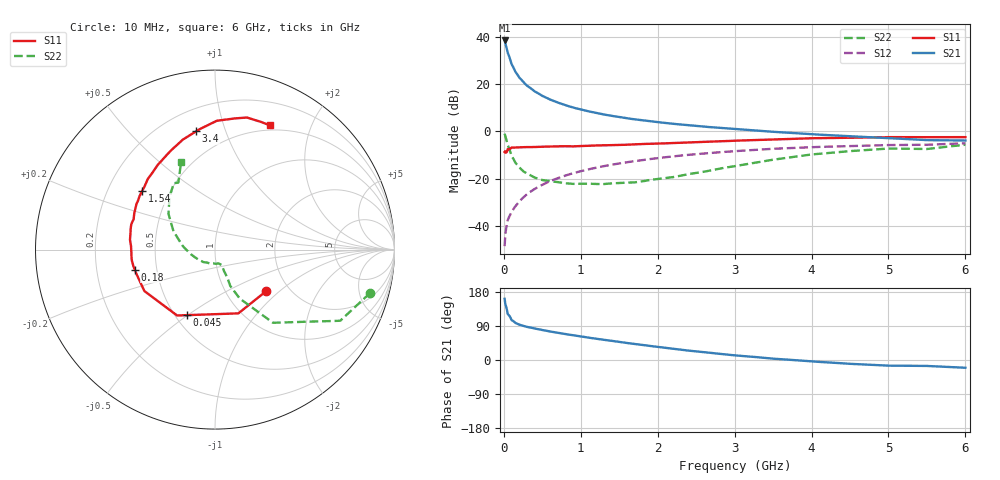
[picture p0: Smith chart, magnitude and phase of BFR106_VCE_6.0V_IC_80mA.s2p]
! Infineon Technologies  Discrete & RF Semiconductors
! BFR106
! VCE =  6.0 V,  IC =  80 mA
! Common Emitter S-Parameters:  Nov 2015
# GHz  S  MA  R  50
!  f  S11  S21  S12  S22
! GHz  MAG  ANG  MAG  ANG  MAG  ANG  MAG  ANG
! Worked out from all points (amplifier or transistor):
!   210 points, 10 MHz to 6 GHz, reference 50 ohm
!   highest |S21| = 38.4 dB at 10 MHz (marker M1)
!   |S21| within 3 dB of that: start of sweep to 34.4 MHz
!   unconditionally stable (mu >= 1): 205.4 MHz to 2.347 GHz
!   at 185 MHz: K = 0.97, MSG = 26.8 dB, |S12| = -30.1 dB
!   at 1.52 GHz: K = 1.05, MAG = 8.3 dB, |S12| = -13.4 dB
!   at 6 GHz: K = 0.99, MSG = 0.6 dB, |S12| = -5.0 dB
!   S11 on the Smith chart (normalised r, x): 10 MHz: 1.53, -0.82; 45 MHz: 0.58, -0.50; 180 MHz: 0.37, -0.11; 1.54 GHz: 0.35, +0.31; 3.4 GHz: 0.33, +0.80; 6 GHz: 0.45, +1.44
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0.01  0.3674 -39.0  82.85 161.5  0.0038 82.2  0.8969 -15.7
0.02  0.3783 -69.9  72.91 147.1  0.0069 69.2  0.8025 -29.6
0.045  0.3964 -112.9  49.66 127.6  0.0122 62.5  0.5598 -46.5
0.05  0.4235 -119.9  46.11 121.5  0.0133 61.8  0.5203 -51.6
0.1  0.4561 -149.6  26.39 105.4  0.0199 63.7  0.3051 -63.2
0.15  0.4579 -162.2  18.09 97.7  0.0264 67.3  0.2191 -67.2
0.18  0.4609 -166.0  15.49 95.4  0.0305 69.3  0.1925 -66.7
0.2  0.464 -168.5  13.77 93.3  0.0332 70.3  0.1747 -66.3
0.26  0.4674 -173.8  10.69 89.4  0.0414 71.4  0.1412 -66.8
0.3  0.4662 -176.8  9.243 87.4  0.0472 72.7  0.1296 -67.2
0.4  0.4683 177.6  7.007 83.0  0.061 73.3  0.1066 -66.8
0.5  0.4768 173.4  5.62 79.0  0.0748 73.2  0.0943 -66.3
0.6  0.4792 169.1  4.708 75.2  0.0893 72.4  0.0897 -68.3
0.8  0.4874 163.0  3.567 68.4  0.1172 70.6  0.0807 -74.3
1.02  0.4937 155.5  2.847 61.6  0.1475 67.9  0.0791 -82.3
1.54  0.5203 141.1  1.967 46.7  0.2162 60.5  0.0825 -111.1
2.02  0.554 128.6  1.557 34.2  0.2758 53.6  0.1002 -141.1
3.1  0.6445 104.5  1.095 10.7  0.3925 37.2  0.1971 168.1
3.4  0.6677 99.0  1.009 5.5  0.4205 32.7  0.2383 158.6
4.1  0.7207 87.8  0.855 -5.0  0.4713 22.4  0.3369 140.0
5.1  0.7562 75.1  0.709 -15.0  0.5167 9.7  0.4333 121.3
6  0.7571 66.0  0.644 -20.5  0.5627 0.0  0.5237 111.1
